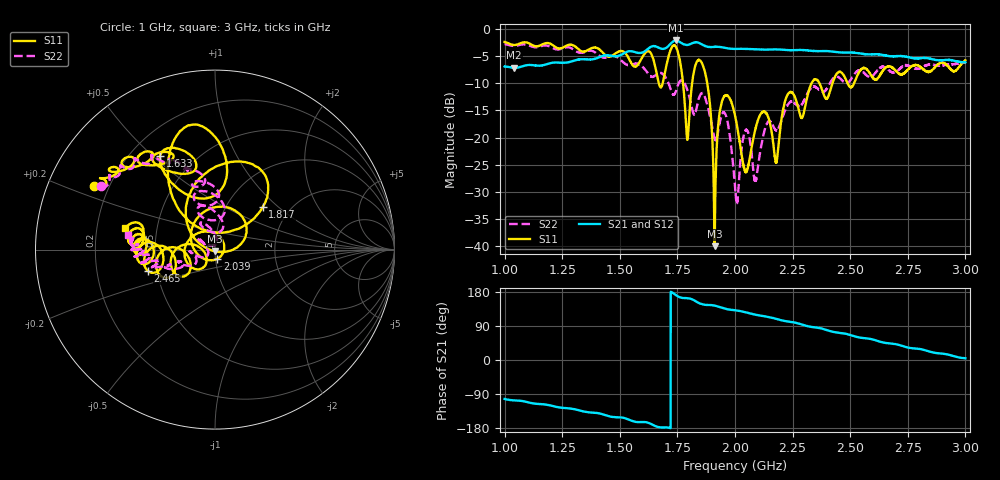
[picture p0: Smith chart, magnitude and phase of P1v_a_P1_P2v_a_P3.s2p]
!Keysight Technologies N9917A: A.13.25
!Date: Friday, 27 June 2025 16:52:03
!Timezone:
!Model: N9917A
!Serial: MY56072049
!GPS Latitude:
!GPS Longitude:
!GPS TimeStamp: 0001-01-01 00:00:00Z
!GPS Seconds Since Last Read: 0
!CHECKSUM:0562916868
!Correction: S11(ON U)S21(ON U)S12(ON U)S22(ON U)
!S2P File: Measurements:S11,S21,S12,S22:
# Hz S DB R 50
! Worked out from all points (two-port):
!   4001 points, 1 GHz to 3 GHz, reference 50 ohm
!   highest |S21| = -2.12 dB at 1.744 GHz (marker M1); lowest = -7.2 dB at 1.042 GHz (marker M2)
!   |S21| within 3 dB of the highest: 1.416 GHz to 2.744 GHz (1.328 GHz wide, 63.9 % of centre); 2.744907 GHz to 2.745068 GHz (161.1 kHz wide, 0.00587 % of centre)
!   lowest |S11| = -40.0 dB at 1.911 GHz (marker M3), VSWR 1.02, Z = 49.8 - j0.983 ohm
!   |S11| at or under -10 dB: 1.774 GHz to 1.814 GHz (39.18 MHz wide, 2.18 % of centre); 1.88 GHz to 2.332 GHz (452.7 MHz wide, 21.5 % of centre); 2.367 GHz to 2.423 GHz (56.46 MHz wide, 2.36 % of centre)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
!   |S22| runs from -32.3 to -2.8 dB; largest |S21 - S12| = 0.0029
!   S11 on the Smith chart (normalised r, x): 1 GHz: 0.15, +0.24; 1.633 GHz: 0.32, +0.53; 1.817 GHz: 1.47, +0.80; 2.039 GHz: 1.02, -0.10; 2.465 GHz: 0.45, -0.13; 3 GHz: 0.33, +0.11
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1e9  -2.41 152.3  -6.93 -102.8  -6.95 -102.8  -2.78 151.0
1.042e9  -2.97 148.7  -7.15 -106.6  -7.15 -106.6  -3.13 148.2
1.3335e9  -4.10 130.4  -5.57 -134.5  -5.57 -134.4  -4.41 126.6
1.6335e9  -4.39 120.5  -3.33 -168.2  -3.33 -168.1  -8.69 100.4
1.667e9  -9.66 115.0  -3.41 -177.0  -3.40 -177.0  -8.12 108.7
1.7435e9  -3.28 106.7  -2.12 171.3  -2.12 171.4  -11.43 109.1
1.792e9  -20.15 96.9  -2.95 163.3  -2.93 163.3  -11.08 83.7
1.817e9  -8.97 41.7  -2.59 159.3  -2.57 159.3  -15.25 82.0
1.873e9  -8.56 108.4  -3.18 145.5  -3.19 145.6  -12.98 94.0
1.9115e9  -39.98 -100.2  -3.31 143.6  -3.31 143.5  -20.08 78.8
1.945e9  -13.12 38.1  -3.38 137.4  -3.38 137.5  -15.58 119.9
2e9  -15.94 147.1  -3.67 131.2  -3.67 131.3  -28.94 76.2
2.039e9  -25.57 -75.8  -3.67 126.9  -3.66 126.9  -19.39 148.7
2.0895e9  -18.22 126.4  -3.74 119.5  -3.74 119.6  -28.06 -161.0
2.1355e9  -15.52 -146.7  -3.80 114.6  -3.79 114.8  -17.74 -170.7
2.1785e9  -24.66 -155.2  -3.77 108.7  -3.78 108.7  -18.62 -157.8
2.226e9  -12.29 -171.6  -3.89 101.9  -3.88 101.9  -14.19 -154.3
2.2905e9  -16.36 -160.9  -3.87 93.6  -3.87 93.6  -13.87 -153.2
2.3335e9  -9.90 -173.1  -4.04 87.2  -4.03 87.2  -10.74 -159.3
2.465e9  -8.14 -162.2  -4.35 70.9  -4.34 70.9  -9.47 -165.9
2.667e9  -6.87 178.3  -4.98 44.0  -4.98 44.1  -7.58 -176.8
3e9  -5.80 166.5  -6.14 4.5  -6.14 4.4  -6.13 170.4
